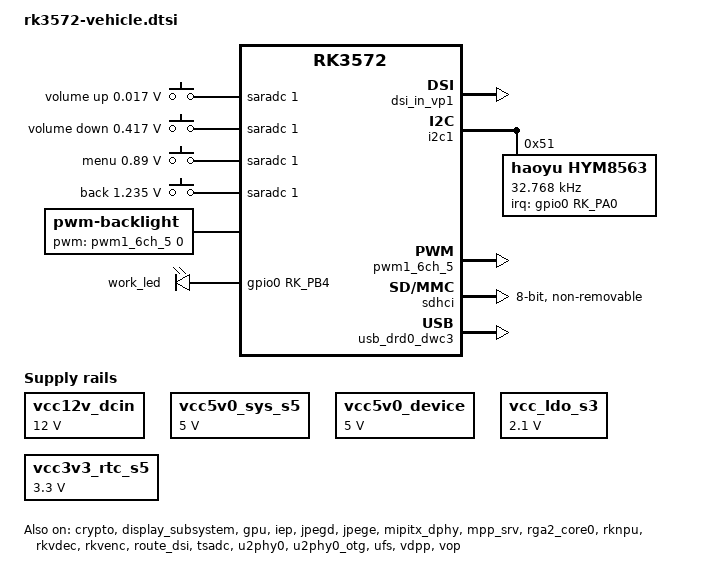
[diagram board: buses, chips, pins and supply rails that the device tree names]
// SPDX-License-Identifier: (GPL-2.0+ OR MIT)
/*
 * Copyright (c) 2026 Rockchip Electronics Co., Ltd.
 */
#include <dt-bindings/display/drm_mipi_dsi.h>
#include <dt-bindings/display/rockchip_vop.h>
#include <dt-bindings/gpio/gpio.h>
#include <dt-bindings/input/rk-input.h>
#include <dt-bindings/pinctrl/rockchip.h>
#include <dt-bindings/pwm/pwm.h>
#include <dt-bindings/sensor-dev.h>

/ {
	adc_keys: adc-keys {
		compatible = "adc-keys";
		io-channels = <&saradc 1>;
		io-channel-names = "buttons";
		keyup-threshold-microvolt = <1800000>;
		poll-interval = <100>;

		vol-up-key {
			label = "volume up";
			linux,code = <KEY_VOLUMEUP>;
			press-threshold-microvolt = <17000>;
		};

		vol-down-key {
			label = "volume down";
			linux,code = <KEY_VOLUMEDOWN>;
			press-threshold-microvolt = <417000>;
		};

		menu-key {
			label = "menu";
			linux,code = <KEY_MENU>;
			press-threshold-microvolt = <890000>;
		};

		back-key {
			label = "back";
			linux,code = <KEY_BACK>;
			press-threshold-microvolt = <1235000>;
		};
	};

	backlight: backlight {
		compatible = "pwm-backlight";
		pwms = <&pwm1_6ch_5 0 25000 0>;
		brightness-levels = <
			  0  20  20  21  21  22  22  23
			 23  24  24  25  25  26  26  27
			 27  28  28  29  29  30  30  31
			 31  32  32  33  33  34  34  35
			 35  36  36  37  37  38  38  39
			 40  41  42  43  44  45  46  47
			 48  49  50  51  52  53  54  55
			 56  57  58  59  60  61  62  63
			 64  65  66  67  68  69  70  71
			 72  73  74  75  76  77  78  79
			 80  81  82  83  84  85  86  87
			 88  89  90  91  92  93  94  95
			 96  97  98  99 100 101 102 103
			104 105 106 107 108 109 110 111
			112 113 114 115 116 117 118 119
			120 121 122 123 124 125 126 127
			128 129 130 131 132 133 134 135
			136 137 138 139 140 141 142 143
			144 145 146 147 148 149 150 151
			152 153 154 155 156 157 158 159
			160 161 162 163 164 165 166 167
			168 169 170 171 172 173 174 175
			176 177 178 179 180 181 182 183
			184 185 186 187 188 189 190 191
			192 193 194 195 196 197 198 199
			200 201 202 203 204 205 206 207
			208 209 210 211 212 213 214 215
			216 217 218 219 220 221 222 223
			224 225 226 227 228 229 230 231
			232 233 234 235 236 237 238 239
			240 241 242 243 244 245 246 247
			248 249 250 251 252 253 254 255
		>;
		default-brightness-level = <200>;
	};

	leds: leds {
		compatible = "gpio-leds";
		work_led: work {
			gpios = <&gpio0 RK_PB4 GPIO_ACTIVE_HIGH>;
			linux,default-trigger = "heartbeat";
		};
	};

	vcc12v_dcin: vcc12v-dcin {
		compatible = "regulator-fixed";
		regulator-name = "vcc12v_dcin";
		regulator-always-on;
		regulator-boot-on;
		regulator-min-microvolt = <12000000>;
		regulator-max-microvolt = <12000000>;
	};

	vcc5v0_sys_s5: vcc5v0-sys {
		compatible = "regulator-fixed";
		regulator-name = "vcc5v0_sys_s5";
		regulator-always-on;
		regulator-boot-on;
		regulator-min-microvolt = <5000000>;
		regulator-max-microvolt = <5000000>;
	};

	vcc5v0_device: vcc5v0-device {
		compatible = "regulator-fixed";
		regulator-name = "vcc5v0_device";
		regulator-always-on;
		regulator-boot-on;
		regulator-min-microvolt = <5000000>;
		regulator-max-microvolt = <5000000>;
	};

	vcc_ldo_s3: vcc-ldo-s3 {
		compatible = "regulator-fixed";
		regulator-name = "vcc_ldo_s3";
		regulator-boot-on;
		regulator-always-on;
		regulator-min-microvolt = <2100000>;
		regulator-max-microvolt = <2100000>;
	};

	vcc3v3_rtc_s5: vcc3v3-rtc-s5 {
		compatible = "regulator-fixed";
		regulator-name = "vcc3v3_rtc_s5";
		regulator-boot-on;
		regulator-always-on;
		regulator-min-microvolt = <3300000>;
		regulator-max-microvolt = <3300000>;
	};
};

&cpu_l0 {
	cpu-supply = <&vdd_cpu_lit_s0>;
};

&cpu_l4 {
	cpu-supply = <&vdd_cpu_lit_s0>;
};

&cpu_b0 {
	cpu-supply = <&vdd_cpu_big_s0>;
};

&crypto {
	status = "okay";
};

&display_subsystem {
	status = "okay";
};

&dsi_in_vp0 {
	status = "disabled";
};



&dsi_in_vp1 {
	status = "okay";
};

&gpu {
	mali-supply = <&vdd_gpu_s0>;
	status = "okay";
};

&i2c1 {
	pinctrl-0 = <&i2c1m1_xfer_pins>;
	status = "okay";

	hym8563: hym8563@51 {
		compatible = "haoyu,hym8563";
		reg = <0x51>;
		#clock-cells = <0>;
		clock-frequency = <32768>;
		clock-output-names = "hym8563";
		pinctrl-names = "default";
		pinctrl-0 = <&hym8563_int>;
		interrupt-parent = <&gpio0>;
		interrupts = <RK_PA0 IRQ_TYPE_LEVEL_LOW>;
		wakeup-source;
	};
};


&iep {
	status = "okay";
};

&iep_mmu {
	status = "okay";
};

&jpegd {
	status = "okay";
};

&jpege {
	status = "okay";
};

&jpeg_mmu {
	status = "okay";
};

&mipitx_dphy {
	status = "okay";
};

&mpp_srv {
	status = "okay";
};

&pinctrl {
	hym8563 {
		hym8563_int: hym8563-int {
			rockchip,pins = <0 RK_PA0 RK_FUNC_GPIO &pcfg_pull_up>;
		};
	};
};

&pwm1_6ch_5 {
	status = "okay";
	pinctrl-0 = <&pwm1m0_ch5_pins>;
};

&rga2_core0 {
	status = "okay";
};

&rga2_core0_mmu {
	status = "okay";
};

&rknpu {
	rknpu-supply = <&vdd_npu_s0>;
	status = "okay";
};

&rknpu_mmu {
	status = "okay";
};

&rkvdec {
	status = "okay";
};

&rkvdec_mmu {
	status = "okay";
};

&rkvenc {
	status = "okay";
};

&rkvenc_mmu {
	status = "okay";
};

&rockchip_suspend {
	status = "okay";
	rockchip,sleep-debug-en = <1>;
	rockchip,sleep-io-ret-config = <
		(0
		| RKPM_VCCIO3_RET_EN
		)
	>;
};

&route_dsi {
	status = "okay";
	connect = <&vp1_out_dsi>;
};

&sdhci {
	bus-width = <8>;
	no-sdio;
	no-sd;
	non-removable;
	max-frequency = <200000000>;
	mmc-hs400-1_8v;
	mmc-hs400-enhanced-strobe;
	full-pwr-cycle-in-suspend;
	status = "okay";
};

&sdmmc0 {
	max-frequency = <200000000>;
	no-sdio;
	no-mmc;
	bus-width = <4>;
	cap-mmc-highspeed;
	cap-sd-highspeed;
	disable-wp;
	sd-uhs-sdr104;
	vmmc-supply = <&vcc3v3_sd_s0>;
	vqmmc-supply = <&vccio_sd_s0>;
	status = "disabled";
};

&tsadc {
	status = "okay";
};

&u2phy0 {
	status = "okay";
};

&u2phy0_otg {
	status = "okay";
};

&uart4 {
	status = "disabled";
	pinctrl-names = "default";
	pinctrl-0 = <&uart4m1_xfer_pins &uart4m1_ctsn_pins>;
};

&ufs {
	reset-gpios = <&gpio4 RK_PC0 GPIO_ACTIVE_HIGH>;
	status = "okay";
};

&usb_drd0_dwc3 {
	status = "okay";
};

&vdpp {
	status = "okay";
};

&vop {
	status = "okay";
};

&vop_mmu {
	status = "okay";
};
